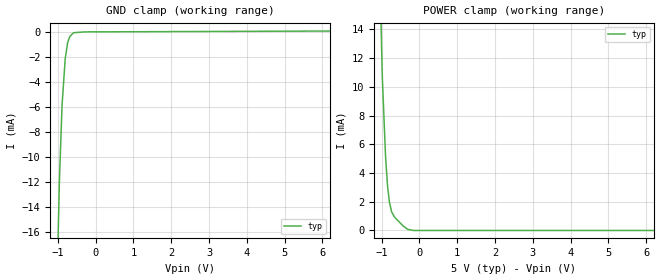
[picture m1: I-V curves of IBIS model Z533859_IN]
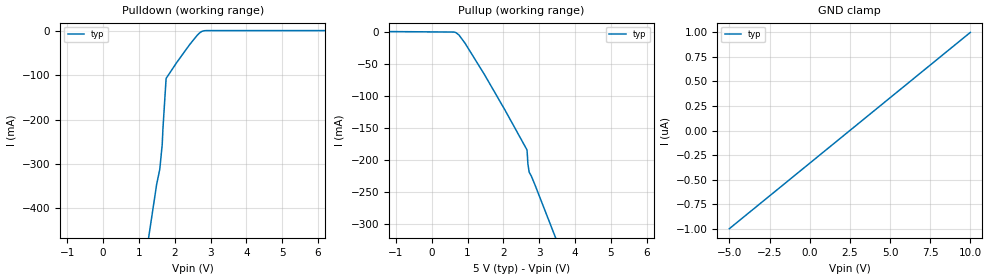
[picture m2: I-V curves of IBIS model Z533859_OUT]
| YOU ARE ONLY AUTHORIZED TO USE THIS SOFTWARE
| ACCORDING TO LICENSOR'S LICENSE RESTRICTIONS.
[IBIS Ver] 3.1
[File Name] mc100el01d_pecl.ibs
[File Rev] 2.0
[Source] Measured and created by ICX Technology
[Date] Friday 7/14/00 9:07:47 AM
[Copyright]
| (C) COPYRIGHT 1993-2000
| MENTOR GRAPHICS CORPORATION
| ICX STANDARD LIBRARY, ICX PROJECT MODELING,
| ICX CUSTOM MODELING, ICX VENDOR MODEL
| ALL RIGHTS RESERVED.
| THE FOLLOWING ARE TRADEMARKS OR SERVICE MARKS OF
| MENTOR GRAPHICS CORPORATION:ICX (R), ICX STANDARD
| LIBRARY(R), ICX PROJECT MODELING(R), ICX CUSTOM
| MODELING(R), qualityIBIS(TM), MODELVIEWER(TM),
| AND MODELEDITOR(TM)
| ALL COPIES OF SOFTWARE, INCLUDING BUT NOT LIMITED TO
| ANY MODIFICATIONS, ENHANCEMENTS OR DERIVATIVE WORKS,
| MUST CONTAIN ALL MENTOR GRAPHICS CORPORATION'S
| NOTICES AND LEGENDS, INCLUDING THOSE EMBEDDED IN
| SOFTWARE AND THOSE AFFIXED TO SOFTWARE MEDIUM
| AND CONTAINER, AS RECEIVED FROM MENTOR GRAPHICS
| CORPORATION.
|  ZAP Model Builder 2.7
[Component] MC100EL01D_PECL
[Manufacturer] OnSemiconductor
[Package]
| variable   typ   min   max
R_pkg  .152ohms NA NA
L_pkg  2.714nH NA NA
C_pkg  .364pF NA NA
[Pin] signal_name  model_name  R_pin  L_pin C_pin
1 D0 Z533859_IN .154 2.924n .374p
2 D1 Z533859_IN .15 2.504n .354p
3 D2 Z533859_IN .15 2.504n .354p
4 D3 Z533859_IN .154 2.924n .374p
5 VEE POWER .154 2.924n .374p
6 _Q Z533859_OUT .15 2.504n .354p
7 Q Z533859_OUT .15 2.504n .354p
8 VCC POWER .154 2.924n .374p
| Models and submodels in the file (2): Z533859_IN (Input), Z533859_OUT (Output)
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| (C) COPYRIGHT 1993-2000
| MENTOR GRAPHICS CORPORATION
| ICX STANDARD LIBRARY, ICX PROJECT MODELING,
| ICX CUSTOM MODELING, ICX VENDOR MODEL
| ALL RIGHTS RESERVED.
| THE FOLLOWING ARE TRADEMARKS OR SERVICE MARKS OF
| MENTOR GRAPHICS CORPORATION:ICX (R), ICX STANDARD
| LIBRARY(R), ICX PROJECT MODELING(R), ICX CUSTOM
| MODELING(R), qualityIBIS(TM), MODELVIEWER(TM),
| AND MODELEDITOR(TM)
| ALL COPIES OF SOFTWARE, INCLUDING BUT NOT LIMITED TO
| ANY MODIFICATIONS, ENHANCEMENTS OR DERIVATIVE WORKS,
| MUST CONTAIN ALL MENTOR GRAPHICS CORPORATION'S
| NOTICES AND LEGENDS, INCLUDING THOSE EMBEDDED IN
| SOFTWARE AND THOSE AFFIXED TO SOFTWARE MEDIUM
| AND CONTAINER, AS RECEIVED FROM MENTOR GRAPHICS
| CORPORATION.
| Model Application Version 1.89 2/18/99.
[Model] Z533859_IN
Model_type Input
Vinl = 2.700V
Vinh = 3.700V
C_comp 4.000pF NA NA
| variable typ   min   max
[Voltage Range] 5.000V NA NA
[GND Clamp Reference] 0.000V NA NA
[POWER Clamp Reference] 5.000V NA NA
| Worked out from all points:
|   GND clamp passes 1 mA (typ) near -0.75 V on its own axis
|   POWER clamp passes 1 mA (typ) near -0.67 V on its own axis
[GND Clamp]
-5V       -563.8mA   NA         NA
-961.6mV  -12.23mA   NA         NA
-888.7mV  -5.901mA   NA         NA
-805.7mV  -2.188mA   NA         NA
-741.7mV  -888.4uA   NA         NA
-683.1mV  -386.7uA   NA         NA
-586.7mV  -87.81uA   NA         NA
-293.4mV  -18.35uA   NA         NA
10V       90.15uA    NA         NA
[POWER Clamp]
-5V       455.3mA    NA         NA
-981mV    10.7mA     NA         NA
-895mV    5.142mA    NA         NA
-840mV    3.03mA     NA         NA
-791mV    1.952mA    NA         NA
-736mV    1.307mA    NA         NA
-660mV    939.4uA    NA         NA
-430mV    313.3uA    NA         NA
-309mV    79.1uA     NA         NA
-154.5mV  0A         NA         NA
10V       0A         NA         NA
| (C) COPYRIGHT 1993-2000
| MENTOR GRAPHICS CORPORATION
| ICX STANDARD LIBRARY, ICX PROJECT MODELING,
| ICX CUSTOM MODELING, ICX VENDOR MODEL
| ALL RIGHTS RESERVED.
| THE FOLLOWING ARE TRADEMARKS OR SERVICE MARKS OF
| MENTOR GRAPHICS CORPORATION:ICX (R), ICX STANDARD
| LIBRARY(R), ICX PROJECT MODELING(R), ICX CUSTOM
| MODELING(R), qualityIBIS(TM), MODELVIEWER(TM),
| AND MODELEDITOR(TM)
| ALL COPIES OF SOFTWARE, INCLUDING BUT NOT LIMITED TO
| ANY MODIFICATIONS, ENHANCEMENTS OR DERIVATIVE WORKS,
| MUST CONTAIN ALL MENTOR GRAPHICS CORPORATION'S
| NOTICES AND LEGENDS, INCLUDING THOSE EMBEDDED IN
| SOFTWARE AND THOSE AFFIXED TO SOFTWARE MEDIUM
| AND CONTAINER, AS RECEIVED FROM MENTOR GRAPHICS
| CORPORATION.
| Model Application Version 1.89 2/18/99.
[Model] Z533859_OUT
Model_type Output
Vref=2.700V
Rref=300.0ohms
Cref=0.000F
Vmeas=3.200V
C_comp 8.000pF NA NA
| variable typ   min   max
[Voltage Range] 5.000V NA NA
[POWER Clamp Reference] 5.000V NA NA
[Pullup Reference] 5.000V NA NA
[Pulldown Reference] 0.000V NA NA
[GND Clamp Reference] 0.000V NA NA
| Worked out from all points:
|   slope of the pulldown table from 0 to 0.75 V, typ, clamps not added: 1.87 ohm
|   slope of the pullup table from 0 to 0.75 V, typ, clamps not added: 170 ohm
[GND Clamp]
-5V       -1uA       NA         NA
10V       1uA        NA         NA
[Pulldown]
-5V       -3.824A    NA         NA
1.494V    -346mA     NA         NA
1.582V    -311.8mA   NA         NA
1.65V     -255.5mA   NA         NA
1.67V     -220.1mA   NA         NA
1.758V    -107.5mA   NA         NA
2.057V    -71.27mA   NA         NA
2.413V    -31.61mA   NA         NA
2.629V    -10.02mA   NA         NA
2.762V    -1.395mA   NA         NA
3.037V    266.8uA    NA         NA
10V       266.8uA    NA         NA
[Pullup]
-5V       2.328mA    NA         NA
643mV     -293.4uA   NA         NA
761mV     -4.71mA    NA         NA
928mV     -17.36mA   NA         NA
1.474V    -66.8mA    NA         NA
2.051V    -122.8mA   NA         NA
2.661V    -184.8mA   NA         NA
2.686V    -207mA     NA         NA
2.721V    -219.6mA   NA         NA
2.778V    -225.3mA   NA         NA
2.881V    -239.2mA   NA         NA
10V       -1.264A    NA         NA
[POWER Clamp]
-5V       0A         NA         NA
10V       0A         NA         NA
[Ramp]
| variable typ min max
dV/dt_r 900.9m/1.976n NA NA
dV/dt_f 900.9m/1.494n NA NA
R_load = 500.0Ohms
